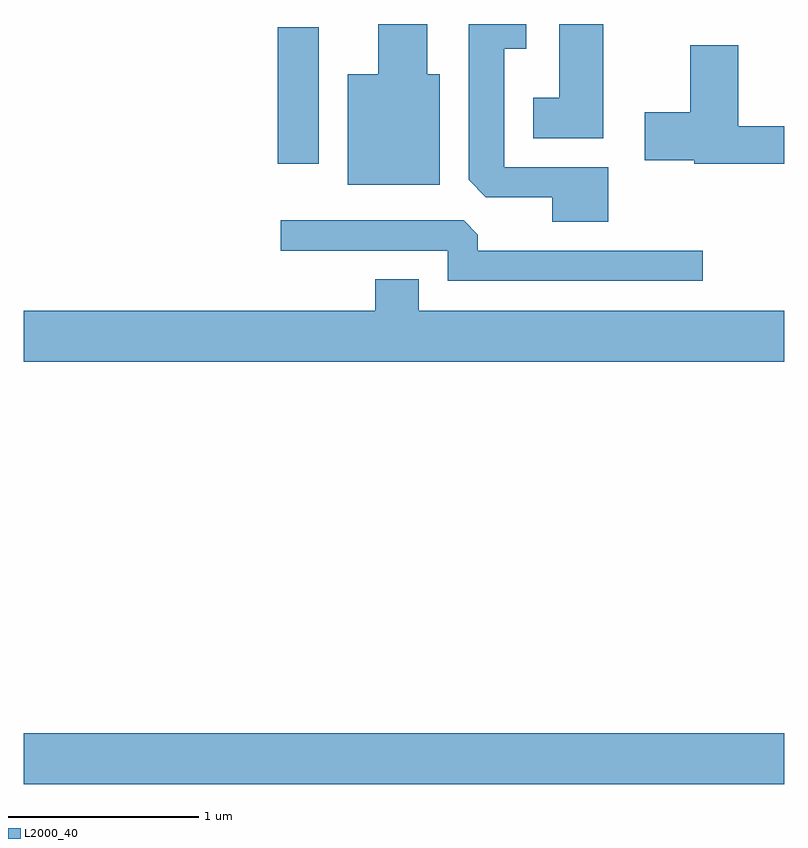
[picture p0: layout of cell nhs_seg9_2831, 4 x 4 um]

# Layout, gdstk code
import gdstk
lib = gdstk.Library(unit=1e-6, precision=1e-09)
def R(c, l, rs):  # rectangles x0, y0, x1, y1
    for r in rs: c.add(gdstk.rectangle(r[:2], r[2:], *l))
def P(c, l, *ps):  # polygons
    for p in ps: c.add(gdstk.Polygon(p, *l))
L2000_40 = (2000, 40)

nhs_seg9_2831 = lib.new_cell('nhs_seg9_2831')
R(nhs_seg9_2831, L2000_40, [(267.611,2038.436,271.611,2038.704), (268.946,2041.696,269.164,2042.414)])
P(nhs_seg9_2831, L2000_40, [(269.799,2042.169),(269.734,2042.169),(269.734,2042.432),(269.476,2042.432),(269.476,2042.169),(269.316,2042.169),(269.316,2041.586),(269.799,2041.586)],
  [(270.659,2042.432),(270.426,2042.432),(270.426,2042.044),(270.291,2042.044),(270.291,2041.831),(270.659,2041.831)],
  [(270.684,2041.679),(270.139,2041.679),(270.139,2042.301),(270.254,2042.301),(270.254,2042.432),(269.951,2042.432),(269.951,2041.612),(270.042,2041.521),(270.391,2041.521),(270.391,2041.391),(270.684,2041.391)],
  [(271.611,2041.894),(271.369,2041.894),(271.369,2042.319),(271.116,2042.319),(271.116,2041.969),(270.876,2041.969),(270.876,2041.716),(271.136,2041.716),(271.136,2041.696),(271.611,2041.696)],
  [(271.183,2041.239),(269.999,2041.239),(269.999,2041.324),(269.924,2041.399),(268.963,2041.399),(268.963,2041.241),(269.841,2041.241),(269.841,2041.081),(271.183,2041.081)],
  [(269.461,2041.089),(269.461,2040.924),(267.611,2040.924),(267.611,2040.656),(271.611,2040.656),(271.611,2040.924),(269.689,2040.924),(269.689,2041.089)])

lib.write_gds('nhs_seg9_2831.gds')
